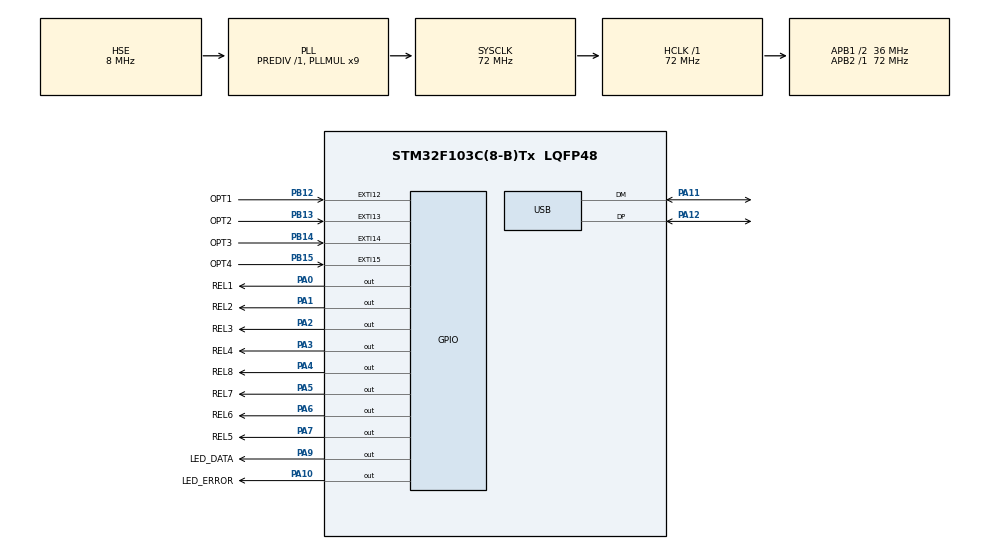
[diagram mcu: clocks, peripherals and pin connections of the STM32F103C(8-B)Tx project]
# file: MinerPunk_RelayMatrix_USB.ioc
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Mcu.Family=STM32F1
Mcu.Name=STM32F103C(8-B)Tx
Mcu.Package=LQFP48
NVIC.EXTI15_10_IRQn=true\:0\:0\:false\:false\:true\:true\:true\:true
NVIC.PriorityGroup=NVIC_PRIORITYGROUP_4
NVIC.TIM2_IRQn=true\:0\:0\:false\:false\:true\:true\:true\:true
NVIC.USB_LP_CAN1_RX0_IRQn=true\:0\:0\:false\:false\:true\:false\:true\:true
PA0-WKUP.GPIO_Label=REL1
PA0-WKUP.PinState=GPIO_PIN_SET
PA0-WKUP.Signal=GPIO_Output
PA1.GPIO_Label=REL2
PA1.PinState=GPIO_PIN_SET
PA1.Signal=GPIO_Output
PA10.GPIO_Label=LED_ERROR
PA10.PinState=GPIO_PIN_SET
PA10.Signal=GPIO_Output
PA11.Mode=Device
PA11.Signal=USB_DM
PA12.Mode=Device
PA12.Signal=USB_DP
PA13.Mode=Serial_Wire
PA13.Signal=SYS_JTMS-SWDIO
PA14.Mode=Serial_Wire
PA14.Signal=SYS_JTCK-SWCLK
PA2.GPIO_Label=REL3
PA2.PinState=GPIO_PIN_SET
PA2.Signal=GPIO_Output
PA3.GPIO_Label=REL4
PA3.PinState=GPIO_PIN_SET
PA3.Signal=GPIO_Output
PA4.GPIO_Label=REL8
PA4.PinState=GPIO_PIN_SET
PA4.Signal=GPIO_Output
PA5.GPIO_Label=REL7
PA5.PinState=GPIO_PIN_SET
PA5.Signal=GPIO_Output
PA6.GPIO_Label=REL6
PA6.PinState=GPIO_PIN_SET
PA6.Signal=GPIO_Output
PA7.GPIO_Label=REL5
PA7.PinState=GPIO_PIN_SET
PA7.Signal=GPIO_Output
PA9.GPIO_Label=LED_DATA
PA9.PinState=GPIO_PIN_SET
PA9.Signal=GPIO_Output
PB12.GPIO_Label=OPT1
PB12.GPIO_PuPd=GPIO_PULLUP
PB12.Signal=GPXTI12
PB13.GPIO_Label=OPT2
PB13.GPIO_PuPd=GPIO_PULLUP
PB13.Signal=GPXTI13
PB14.GPIO_Label=OPT3
PB14.GPIO_PuPd=GPIO_PULLUP
PB14.Signal=GPXTI14
PB15.GPIO_Label=OPT4
PB15.GPIO_PuPd=GPIO_PULLUP
PB15.Signal=GPXTI15
PD0-OSC_IN.Mode=HSE-External-Oscillator
PD0-OSC_IN.Signal=RCC_OSC_IN
PD1-OSC_OUT.Mode=HSE-External-Oscillator
PD1-OSC_OUT.Signal=RCC_OSC_OUT
ProjectManager.HeapSize=0x200
ProjectManager.StackSize=0x400
ProjectManager.TargetToolchain=STM32CubeIDE
RCC.AHBFreq_Value=72000000
RCC.APB1CLKDivider=RCC_HCLK_DIV2
RCC.APB1Freq_Value=36000000
RCC.APB1TimFreq_Value=72000000
RCC.APB2Freq_Value=72000000
RCC.APB2TimFreq_Value=72000000
RCC.HCLKFreq_Value=72000000
RCC.PLLMUL=RCC_PLL_MUL9
RCC.PLLSourceVirtual=RCC_PLLSOURCE_HSE
RCC.SYSCLKFreq_VALUE=72000000
RCC.SYSCLKSource=RCC_SYSCLKSOURCE_PLLCLK
RCC.USBFreq_Value=48000000
RCC.USBPrescaler=RCC_USBCLKSOURCE_PLL_DIV1_5
TIM2.Prescaler=7200-1
USB_DEVICE.CLASS_NAME_FS=CDC
USB_DEVICE.MANUFACTURER_STRING=PAC_MEXICO
USB_DEVICE.PID_CDC_FS=2233
USB_DEVICE.PRODUCT_STRING_CDC_FS=PAC_RS485_ComPort
USB_DEVICE.VID=1994
USB_DEVICE.VirtualMode=Cdc
USB_DEVICE.VirtualModeFS=Cdc_FS
VP_TIM2_VS_ClockSourceINT.Mode=Internal
VP_USB_DEVICE_VS_USB_DEVICE_CDC_FS.Mode=CDC_FS
board=custom

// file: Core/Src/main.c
/* USER CODE BEGIN Header */
/**
  ******************************************************************************
  * @file           : main.c
  * @brief          : Main program body
  ******************************************************************************
  * @attention
  *
  * Copyright (c) 2022 STMicroelectronics.
  * All rights reserved.
  *
  * This software is licensed under terms that can be found in the LICENSE file
  * in the root directory of this software component.
  * If no LICENSE file comes with this software, it is provided AS-IS.
  *
  ******************************************************************************
  */
/* USER CODE END Header */
#include "main.h"
#include "usb_device.h"

/* USER CODE BEGIN PD */
#define MAXSIZE_BufferMsg 50
/* USER CODE END PD */

TIM_HandleTypeDef htim2;

/* USER CODE BEGIN PV */
uint8_t rxBufferMsgUsb[MAXSIZE_BufferMsg];
uint8_t *p_rxMsgUsb = &rxBufferMsgUsb[0];
uint8_t msgReturn[MAXSIZE_BufferMsg];
//Command
const char *REL_CLO = "REL_CLO";
const char *REL_OPE = "REL_OPE";
const char *REL_OUT = "REL_OUT";
const char *SEN_INP = "SEN_INP";
const char *BRD_DES = "BRD_DES";
//Messages
const char *STA_INP = "\rSTA_INP\tINP_OPT1:%d,INP_OPT2:%d,INP_OPT3:%d,INP_OPT4:%d\n";
const char *STA_OUT = "\rSTA_OUT\tOUT_REL1:%d,OUT_REL2:%d,OUT_REL3:%d,OUT_REL4:%d,OUT_REL5:%d,OUT_REL6:%d,OUT_REL7:%d,OUT_REL8:%d\n";
const char *MSG_FAI = "\rMSG_FAI\n";
//const char *MSG_PAS = "\rMSG_PAS\n";
const char *MSG_DES = "\rMSG_DES\tBOARD:RELAY_MATRIX,VERSION:1.1,SUPPLIER:MINERPUNK\n";

/* USER CODE END PV */

void SystemClock_Config(void);
static void MX_GPIO_Init(void);
static void MX_TIM2_Init(void);
/* USER CODE BEGIN PFP */
void Buffer_Receiver_USB(uint8_t* Buf);
void Command_Hub(uint8_t *msg_p);
void Refresh_Rel_Outputs(uint8_t *rel_outputs);
void Transmit_Rel_Outputs(void);
void Refresh_Opto_Inputs(uint8_t *opto_inputs);
void Transmit_Opto_Inputs(void);
void REL1_Set(uint8_t value);
void REL2_Set(uint8_t value);
void REL3_Set(uint8_t value);
void REL4_Set(uint8_t value);
void REL5_Set(uint8_t value);
void REL6_Set(uint8_t value);
void REL7_Set(uint8_t value);
void REL8_Set(uint8_t value);
void Led_Error_Set(uint8_t value);
void Led_Data_Set(uint8_t value);
/* USER CODE END PFP */

int main(void)
{

  /* MCU Configuration--------------------------------------------------------*/

  /* Reset of all peripherals, Initializes the Flash interface and the Systick. */
  HAL_Init();

  /* Configure the system clock */
  SystemClock_Config();

  /* USER CODE BEGIN SysInit */
  MX_GPIO_Init();
  /* USER CODE END SysInit */

  /* Initialize all configured peripherals */
  MX_GPIO_Init();
  MX_USB_DEVICE_Init();
  MX_TIM2_Init();
  /* USER CODE BEGIN 2 */
  HAL_TIM_Base_Start_IT(&htim2);
  /* USER CODE END 2 */

  /* Infinite loop */
  while (1)
  {

  }
}

void SystemClock_Config(void)
{
  RCC_OscInitTypeDef RCC_OscInitStruct = {0};
  RCC_ClkInitTypeDef RCC_ClkInitStruct = {0};
  RCC_PeriphCLKInitTypeDef PeriphClkInit = {0};

  /** Initializes the RCC Oscillators according to the specified parameters
  * in the RCC_OscInitTypeDef structure.
  */
  RCC_OscInitStruct.OscillatorType = RCC_OSCILLATORTYPE_HSE;
  RCC_OscInitStruct.HSEState = RCC_HSE_ON;
  RCC_OscInitStruct.HSEPredivValue = RCC_HSE_PREDIV_DIV1;
  RCC_OscInitStruct.HSIState = RCC_HSI_ON;
  RCC_OscInitStruct.PLL.PLLState = RCC_PLL_ON;
  RCC_OscInitStruct.PLL.PLLSource = RCC_PLLSOURCE_HSE;
  RCC_OscInitStruct.PLL.PLLMUL = RCC_PLL_MUL9;
  if (HAL_RCC_OscConfig(&RCC_OscInitStruct) != HAL_OK)
  {
    Error_Handler();
  }

  /** Initializes the CPU, AHB and APB buses clocks
  */
  RCC_ClkInitStruct.ClockType = RCC_CLOCKTYPE_HCLK|RCC_CLOCKTYPE_SYSCLK
                              |RCC_CLOCKTYPE_PCLK1|RCC_CLOCKTYPE_PCLK2;
  RCC_ClkInitStruct.SYSCLKSource = RCC_SYSCLKSOURCE_PLLCLK;
  RCC_ClkInitStruct.AHBCLKDivider = RCC_SYSCLK_DIV1;
  RCC_ClkInitStruct.APB1CLKDivider = RCC_HCLK_DIV2;
  RCC_ClkInitStruct.APB2CLKDivider = RCC_HCLK_DIV1;

  if (HAL_RCC_ClockConfig(&RCC_ClkInitStruct, FLASH_LATENCY_2) != HAL_OK)
  {
    Error_Handler();
  }
  PeriphClkInit.PeriphClockSelection = RCC_PERIPHCLK_USB;
  PeriphClkInit.UsbClockSelection = RCC_USBCLKSOURCE_PLL_DIV1_5;
  if (HAL_RCCEx_PeriphCLKConfig(&PeriphClkInit) != HAL_OK)
  {
    Error_Handler();
  }
}

static void MX_TIM2_Init(void)
{

  TIM_ClockConfigTypeDef sClockSourceConfig = {0};
  TIM_MasterConfigTypeDef sMasterConfig = {0};

  htim2.Instance = TIM2;
  htim2.Init.Prescaler = 7200-1;
  htim2.Init.CounterMode = TIM_COUNTERMODE_UP;
  htim2.Init.Period = 65535;
  htim2.Init.ClockDivision = TIM_CLOCKDIVISION_DIV1;
  htim2.Init.AutoReloadPreload = TIM_AUTORELOAD_PRELOAD_DISABLE;
  if (HAL_TIM_Base_Init(&htim2) != HAL_OK)
  {
    Error_Handler();
  }
  sClockSourceConfig.ClockSource = TIM_CLOCKSOURCE_INTERNAL;
  if (HAL_TIM_ConfigClockSource(&htim2, &sClockSourceConfig) != HAL_OK)
  {
    Error_Handler();
  }
  sMasterConfig.MasterOutputTrigger = TIM_TRGO_RESET;
  sMasterConfig.MasterSlaveMode = TIM_MASTERSLAVEMODE_DISABLE;
  if (HAL_TIMEx_MasterConfigSynchronization(&htim2, &sMasterConfig) != HAL_OK)
  {
    Error_Handler();
  }

}

static void MX_GPIO_Init(void)
{
  GPIO_InitTypeDef GPIO_InitStruct = {0};

  /* GPIO Ports Clock Enable */
  __HAL_RCC_GPIOD_CLK_ENABLE();
  __HAL_RCC_GPIOA_CLK_ENABLE();
  __HAL_RCC_GPIOB_CLK_ENABLE();

  /*Configure GPIO pin Output Level */
  HAL_GPIO_WritePin(GPIOA, REL1_Pin|REL2_Pin|REL3_Pin|REL4_Pin
                          |REL8_Pin|REL7_Pin|REL6_Pin|REL5_Pin
                          |LED_DATA_Pin|LED_ERROR_Pin, GPIO_PIN_SET);

  /*Configure GPIO pins : REL1_Pin REL2_Pin REL3_Pin REL4_Pin
                           REL8_Pin REL7_Pin REL6_Pin REL5_Pin
                           LED_DATA_Pin LED_ERROR_Pin */
  GPIO_InitStruct.Pin = REL1_Pin|REL2_Pin|REL3_Pin|REL4_Pin
                          |REL8_Pin|REL7_Pin|REL6_Pin|REL5_Pin
                          |LED_DATA_Pin|LED_ERROR_Pin;
  GPIO_InitStruct.Mode = GPIO_MODE_OUTPUT_PP;
  GPIO_InitStruct.Pull = GPIO_NOPULL;
  GPIO_InitStruct.Speed = GPIO_SPEED_FREQ_LOW;
  HAL_GPIO_Init(GPIOA, &GPIO_InitStruct);

  /*Configure GPIO pins : OPT1_Pin OPT2_Pin OPT3_Pin OPT4_Pin */
  GPIO_InitStruct.Pin = OPT1_Pin|OPT2_Pin|OPT3_Pin|OPT4_Pin;
  GPIO_InitStruct.Mode = GPIO_MODE_IT_RISING;
  GPIO_InitStruct.Pull = GPIO_PULLUP;
  HAL_GPIO_Init(GPIOB, &GPIO_InitStruct);

  /* EXTI interrupt init*/
  HAL_NVIC_SetPriority(EXTI15_10_IRQn, 0, 0);
  HAL_NVIC_EnableIRQ(EXTI15_10_IRQn);

}

/* USER CODE BEGIN 4 */

void Buffer_Receiver_USB(uint8_t* Buf){
	uint8_t rxFlatUsb=0;
	for(uint8_t i = 0; i<MAXSIZE_BufferMsg; i++){
		if(Buf[i]=='\r'){
			rxFlatUsb=1;
			Led_Data_Set(1);
		}
		else if(Buf[i]=='\n'){
			Command_Hub(p_rxMsgUsb);
			Led_Data_Set(0);
			break;
		}
		else{
			if(rxFlatUsb){
				p_rxMsgUsb[i-1]=Buf[i];
			}
		}
	}
}
void Command_Hub(uint8_t *msg_p)
{
	//Set Close and select relay number
	if (!strncmp(msg_p, REL_CLO, strlen(REL_CLO)))
	{
		switch(msg_p[7]){
			case '1':
				REL1_Set(1);
				break;
			case '2':
				REL2_Set(1);
				break;
			case '3':
				REL3_Set(1);
				break;
			case '4':
				REL4_Set(1);
				break;
			case '5':
				REL5_Set(1);
				break;
			case '6':
				REL6_Set(1);
				break;
			case '7':
				REL7_Set(1);
				break;
			case '8':
				REL8_Set(1);
				break;
			default:
				Led_Error_Set(1);
				break;
		}
		Transmit_Rel_Outputs();
		//CDC_Transmit_FS(MSG_PAS, strlen(MSG_PAS));
	}
	//Set Open and select relay number
	else if (!strncmp(msg_p, REL_OPE, strlen(REL_OPE)))
	{
		switch(msg_p[7]){
			case '1':
				REL1_Set(0);
				break;
			case '2':
				REL2_Set(0);
				break;
			case '3':
				REL3_Set(0);
				break;
			case '4':
				REL4_Set(0);
				break;
			case '5':
				REL5_Set(0);
				break;
			case '6':
				REL6_Set(0);
				break;
			case '7':
				REL7_Set(0);
				break;
			case '8':
				REL8_Set(0);
				break;
			default:
				Led_Error_Set(1);
				break;
		}
		Transmit_Rel_Outputs();
		//CDC_Transmit_FS(MSG_PAS, strlen(MSG_PAS));
	}
	else if (!strncmp(msg_p, REL_OUT, strlen(REL_OUT)))
	{
		Transmit_Rel_Outputs();
	}
	//Transmit Opto sensors values
	else if (!strncmp(msg_p, SEN_INP, strlen(SEN_INP)))
	{
		Transmit_Opto_Inputs();
	}
	//Transmit Board Name
	else if (!strncmp(msg_p, BRD_DES, strlen(BRD_DES))){
		CDC_Transmit_FS(MSG_DES, strlen(MSG_DES));
	}
	//Received message is unknown
	else{
		CDC_Transmit_FS(MSG_FAI, strlen(MSG_FAI));
		Led_Error_Set(1);
	}
}
void Refresh_Rel_Outputs(uint8_t *rel_outputs){
	rel_outputs[0] = (HAL_GPIO_ReadPin(REL1_GPIO_Port, REL1_Pin) == GPIO_PIN_RESET) ? 1 : 0;
	rel_outputs[1] = (HAL_GPIO_ReadPin(REL2_GPIO_Port, REL2_Pin) == GPIO_PIN_RESET) ? 1 : 0;
	rel_outputs[2] = (HAL_GPIO_ReadPin(REL3_GPIO_Port, REL3_Pin) == GPIO_PIN_RESET) ? 1 : 0;
	rel_outputs[3] = (HAL_GPIO_ReadPin(REL4_GPIO_Port, REL4_Pin) == GPIO_PIN_RESET) ? 1 : 0;
	rel_outputs[4] = (HAL_GPIO_ReadPin(REL5_GPIO_Port, REL5_Pin) == GPIO_PIN_RESET) ? 1 : 0;
	rel_outputs[5] = (HAL_GPIO_ReadPin(REL6_GPIO_Port, REL6_Pin) == GPIO_PIN_RESET) ? 1 : 0;
	rel_outputs[6] = (HAL_GPIO_ReadPin(REL7_GPIO_Port, REL7_Pin) == GPIO_PIN_RESET) ? 1 : 0;
	rel_outputs[7] = (HAL_GPIO_ReadPin(REL8_GPIO_Port, REL8_Pin) == GPIO_PIN_RESET) ? 1 : 0;
}
void Transmit_Rel_Outputs(void){
	uint8_t rels[8];
	Refresh_Rel_Outputs(&rels);
	sprintf(msgReturn, STA_OUT, *( &rels[0]),*( &rels[1]),*( &rels[2]),*( &rels[3]),*( &rels[4]),*( &rels[5]),*( &rels[6]),*( &rels[7]));
	CDC_Transmit_FS(msgReturn, strlen(msgReturn));
}
void Refresh_Opto_Inputs(uint8_t *opto_inputs){
	opto_inputs[0] = (HAL_GPIO_ReadPin(OPT1_GPIO_Port, OPT1_Pin) == GPIO_PIN_RESET) ? 1 : 0;
	opto_inputs[1] = (HAL_GPIO_ReadPin(OPT2_GPIO_Port, OPT2_Pin) == GPIO_PIN_RESET) ? 1 : 0;
	opto_inputs[2] = (HAL_GPIO_ReadPin(OPT3_GPIO_Port, OPT3_Pin) == GPIO_PIN_RESET) ? 1 : 0;
	opto_inputs[3] = (HAL_GPIO_ReadPin(OPT4_GPIO_Port, OPT4_Pin) == GPIO_PIN_RESET) ? 1 : 0;
}
void Transmit_Opto_Inputs(void){
	uint8_t sensors[4];
	Refresh_Opto_Inputs(&sensors);
	sprintf(msgReturn, STA_INP, *( &sensors[0]),*( &sensors[1]),*( &sensors[2]),*( &sensors[3]));
	CDC_Transmit_FS(msgReturn, strlen(msgReturn));
}
//
void Led_Error_Set(uint8_t value) {
	HAL_GPIO_WritePin(LED_ERROR_GPIO_Port, LED_ERROR_Pin, value ? GPIO_PIN_RESET : GPIO_PIN_SET);
}
void Led_Data_Set(uint8_t value) {
	HAL_GPIO_WritePin(LED_DATA_GPIO_Port, LED_DATA_Pin, value ? GPIO_PIN_RESET : GPIO_PIN_SET);
}
//
void REL1_Set(uint8_t value) {
	HAL_GPIO_WritePin(REL1_GPIO_Port, REL1_Pin, value ? GPIO_PIN_RESET : GPIO_PIN_SET);
}
void REL2_Set(uint8_t value) {
	HAL_GPIO_WritePin(REL2_GPIO_Port, REL2_Pin, value ? GPIO_PIN_RESET : GPIO_PIN_SET);
}
void REL3_Set(uint8_t value) {
	HAL_GPIO_WritePin(REL3_GPIO_Port, REL3_Pin, value ? GPIO_PIN_RESET : GPIO_PIN_SET);
}
void REL4_Set(uint8_t value) {
	HAL_GPIO_WritePin(REL4_GPIO_Port, REL4_Pin, value ? GPIO_PIN_RESET : GPIO_PIN_SET);
}
void REL5_Set(uint8_t value) {
	HAL_GPIO_WritePin(REL5_GPIO_Port, REL5_Pin, value ? GPIO_PIN_RESET : GPIO_PIN_SET);
}
void REL6_Set(uint8_t value) {
	HAL_GPIO_WritePin(REL6_GPIO_Port, REL6_Pin, value ? GPIO_PIN_RESET : GPIO_PIN_SET);
}
void REL7_Set(uint8_t value) {
	HAL_GPIO_WritePin(REL7_GPIO_Port, REL7_Pin, value ? GPIO_PIN_RESET : GPIO_PIN_SET);
}
void REL8_Set(uint8_t value) {
	HAL_GPIO_WritePin(REL8_GPIO_Port, REL8_Pin, value ? GPIO_PIN_RESET : GPIO_PIN_SET);
}

/* USER CODE END 4 */

void Error_Handler(void)
{
  __disable_irq();
  while (1)
  {
  }
}
